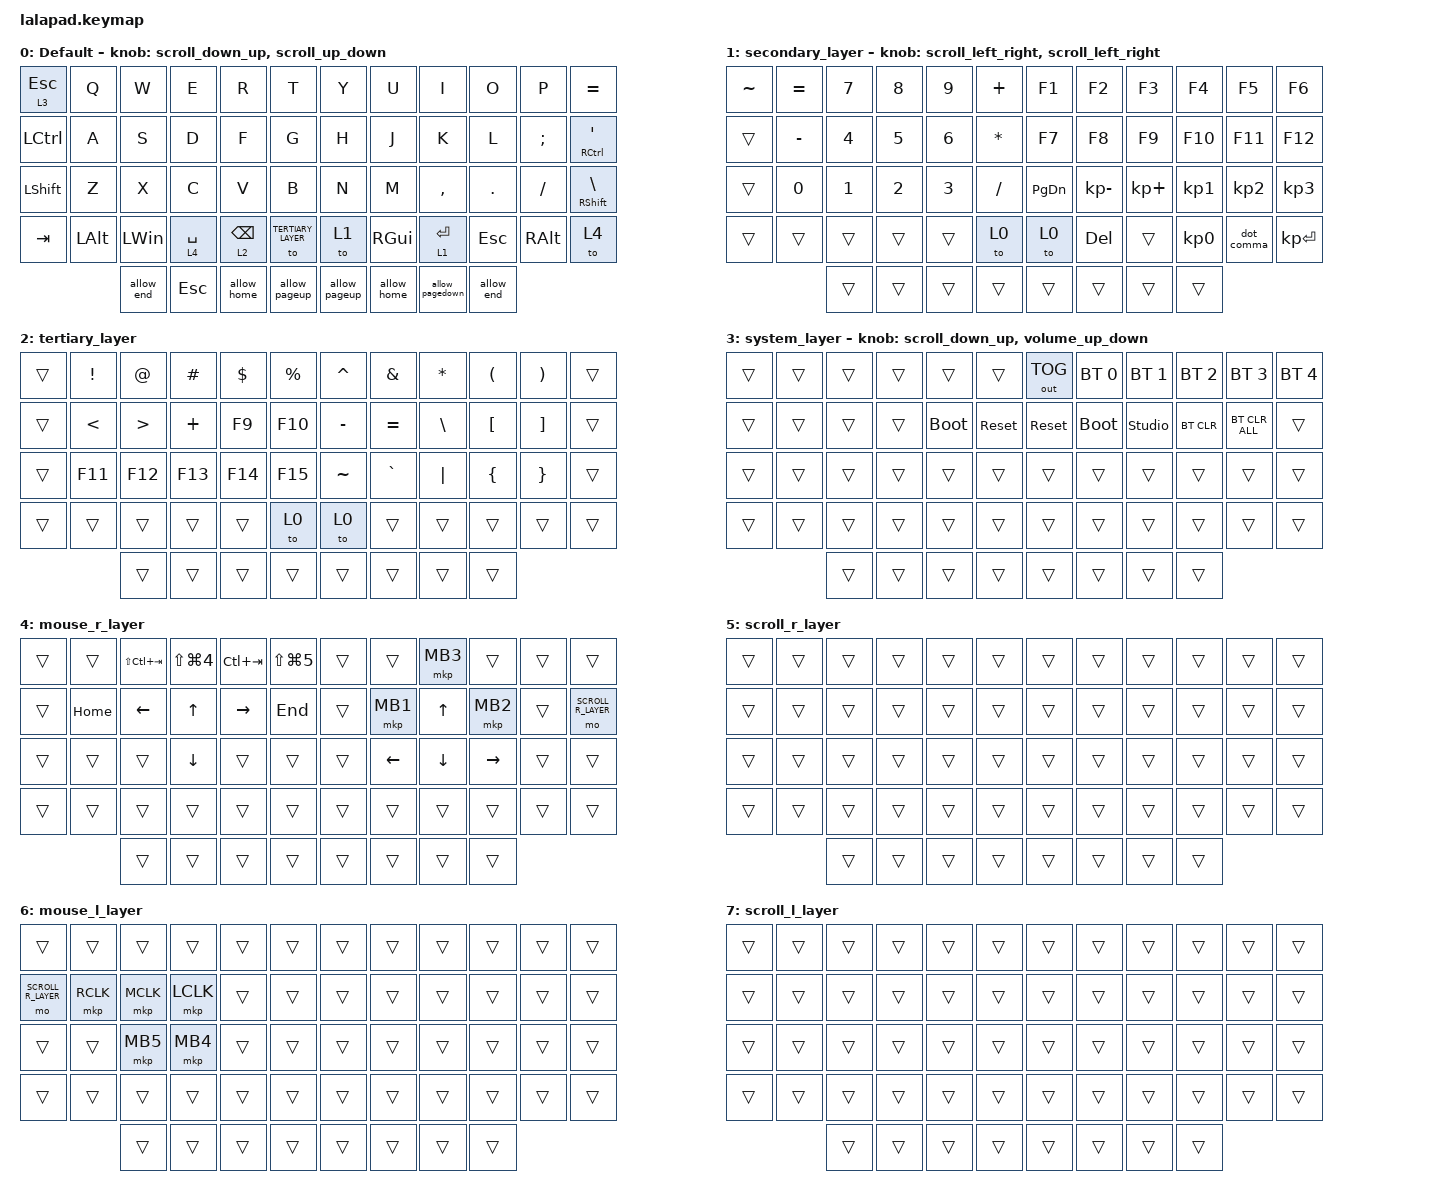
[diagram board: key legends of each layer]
#include <input/processors.dtsi>
#include <behaviors.dtsi>
#include <dt-bindings/zmk/bt.h>
#include <dt-bindings/zmk/keys.h>
#include <dt-bindings/zmk/outputs.h>
#include <dt-bindings/zmk/pointing.h>

#define DEFAULT_LAYER   0
#define SECONDARY_LAYER 1
#define TERTIARY_LAYER  2
#define SYSTEM_LAYER    3
#define MOUSE_R_LAYER   4
#define SCROLL_R_LAYER  5
#define MOUSE_L_LAYER   6
#define SCROLL_L_LAYER  7

// Mouse Scroll Value

#define ZMK_POINTING_DEFAULT_SCRL_VAL 100

// cirque trackpad input&layer control

&glidepoint_listener_R {
    input-processors =
        <&zip_xy_transform (INPUT_TRANSFORM_XY_SWAP | INPUT_TRANSFORM_X_INVERT | INPUT_TRANSFORM_Y_INVERT)>,
        <&zip_xy_scaler 6 2>;

    lowspeedmode {
        layers = <SECONDARY_LAYER>;
        input-processors =
            <&zip_xy_transform (INPUT_TRANSFORM_XY_SWAP | INPUT_TRANSFORM_X_INVERT | INPUT_TRANSFORM_Y_INVERT)>,
            <&zip_xy_scaler 3 5>;
    };

    scroller {
        layers = <SCROLL_R_LAYER>;
        input-processors =
            <&zip_xy_to_scroll_mapper>,
            <&zip_scroll_transform (INPUT_TRANSFORM_XY_SWAP | INPUT_TRANSFORM_Y_INVERT)>,
            <&zip_scroll_scaler 1 8>;
    };
};

&glidepoint_listener_L {
    input-processors =
        <&zip_xy_transform (INPUT_TRANSFORM_XY_SWAP | INPUT_TRANSFORM_X_INVERT | INPUT_TRANSFORM_Y_INVERT)>,
        <&zip_xy_scaler 3 2>,
        <&zip_temp_layer MOUSE_L_LAYER 500>;

    lowspeedmode {
        layers = <SECONDARY_LAYER>;
        input-processors =
            <&zip_xy_transform (INPUT_TRANSFORM_XY_SWAP | INPUT_TRANSFORM_X_INVERT | INPUT_TRANSFORM_Y_INVERT)>,
            <&zip_xy_scaler 3 4>,
            <&zip_temp_layer MOUSE_L_LAYER 500>;
    };

    scroller {
        layers = <SCROLL_L_LAYER>;
        input-processors =
            <&zip_xy_to_scroll_mapper>,
            <&zip_scroll_transform (INPUT_TRANSFORM_XY_SWAP | INPUT_TRANSFORM_Y_INVERT)>,
            <&zip_scroll_scaler 1 6>;
    };
};

/ {
    behaviors {
        // Encoder to Mouse Scroll

        scroll_up_down: behavior_sensor_rotate_mouse_wheel_up_down {
            compatible = "zmk,behavior-sensor-rotate";
            #sensor-binding-cells = <0>;
            bindings = <&msc SCRL_UP>, <&msc SCRL_DOWN>;

            tap-ms = <20>;
        };

        scroll_down_up: behavior_sensor_rotate_mouse_wheel_down_up {
            compatible = "zmk,behavior-sensor-rotate";
            #sensor-binding-cells = <0>;
            bindings = <&msc SCRL_DOWN>, <&msc SCRL_UP>;

            tap-ms = <20>;
        };

        scroll_left_right: behavior_sensor_rotate_mouse_wheel_left_right {
            compatible = "zmk,behavior-sensor-rotate";
            #sensor-binding-cells = <0>;
            bindings = <&msc SCRL_LEFT>, <&msc SCRL_RIGHT>;

            tap-ms = <20>;
        };

        scroll_right_left: behavior_sensor_rotate_mouse_wheel_right_left {
            compatible = "zmk,behavior-sensor-rotate";
            #sensor-binding-cells = <0>;
            bindings = <&msc SCRL_RIGHT>, <&msc SCRL_LEFT>;

            tap-ms = <20>;
        };

        volume_up_down: behavior_sensor_rotate_volume_up_down {
            compatible = "zmk,behavior-sensor-rotate";
            #sensor-binding-cells = <0>;
            bindings = <&kp C_VOLUME_UP>, <&kp C_VOLUME_DOWN>;

            tap-ms = <20>;
        };

        dot_comma: dot_comma {
            compatible = "zmk,behavior-mod-morph";
            #binding-cells = <0>;
            bindings = <&kp KP_DOT>, <&kp COMMA>;

            mods = <(MOD_LSFT|MOD_RSFT)>;
            label = "DOT_COMMA";
        };

        pls_minus: pls_minus {
            compatible = "zmk,behavior-mod-morph";
            #binding-cells = <0>;
            bindings = <&kp PLUS>, <&kp MINUS>;

            mods = <(MOD_LSFT|MOD_RSFT)>;
            label = "PLS_MINUS";
        };

        allow_pageup: allow_pageup {
            compatible = "zmk,behavior-mod-morph";
            #binding-cells = <0>;
            bindings = <&kp UP>, <&kp PAGE_UP>;

            mods = <(MOD_LCTL|MOD_RCTL)>;
            label = "ALLOW_PAGEUP";
        };

        allow_pagedown: allow_pagedown {
            compatible = "zmk,behavior-mod-morph";
            #binding-cells = <0>;
            bindings = <&kp DOWN>, <&kp PAGE_DOWN>;

            mods = <(MOD_LCTL|MOD_RCTL)>;
            label = "ALLOW_PAGEDOWN";
        };

        allow_home: allow_home {
            compatible = "zmk,behavior-mod-morph";
            #binding-cells = <0>;
            bindings = <&kp LEFT>, <&kp HOME>;

            mods = <(MOD_LCTL|MOD_RCTL)>;
            label = "ALLOW_HOME";
        };

        allow_end: allow_end {
            compatible = "zmk,behavior-mod-morph";
            #binding-cells = <0>;
            bindings = <&kp RIGHT>, <&kp END>;

            mods = <(MOD_LCTL|MOD_RCTL)>;
            label = "ALLOW_END";
        };

        mt2: mod_tap2 {
            compatible = "zmk,behavior-hold-tap";
            #binding-cells = <2>;
            flavor = "tap-preferred";
            tapping-term-ms = <200>;
            quick-tap-ms = <200>;
            require-prior-idle-ms = <125>;
            bindings = <&kp>, <&kp>;
        };
    };

    combos {
        compatible = "zmk,combos";

        tab {
            bindings = <&kp TAB>;
            key-positions = <14 15>;
        };

        shift_tab {
            bindings = <&kp LS(TAB)>;
            key-positions = <15 16>;
        };
    };

    keymap {
        compatible = "zmk,keymap";

        DEFAULT_LAYER {
            display-name = "Default";
            sensor-bindings = <&scroll_down_up>, <&scroll_up_down>;

            bindings = <
&lt 3 ESCAPE  &kp Q         &kp W         &kp E        &kp R            &kp T               &kp Y          &kp U          &kp I            &kp O       &kp P          &kp EQUAL
&kp LCTRL     &kp A         &kp S         &kp D        &kp F            &kp G               &kp H          &kp J          &kp K            &kp L       &kp SEMI       &mt RCTRL SQT
&kp LSHFT     &kp Z         &kp X         &kp C        &kp V            &kp B               &kp N          &kp M          &kp COMMA        &kp PERIOD  &kp SLASH      &mt RIGHT_SHIFT BSLH
&kp TAB       &kp LEFT_ALT  &kp LEFT_WIN  &lt 4 SPACE  &lt 2 BACKSPACE  &to TERTIARY_LAYER  &to 1          &kp RIGHT_GUI  &lt 1 ENTER      &kp ESC     &kp RIGHT_ALT  &to 4
                            &allow_end    &kp ESC      &allow_home      &allow_pageup       &allow_pageup  &allow_home    &allow_pagedown  &allow_end
            >;
        };

        SECONDARY_LAYER {
            display-name = "secondary_layer";
            sensor-bindings = <&scroll_left_right>, <&scroll_left_right>;

            bindings = <
&kp TILDE  &kp EQUAL     &kp NUMBER_7  &kp NUMBER_8  &kp NUMBER_9  &kp PLUS      &kp F1         &kp F2        &kp F3       &kp F4           &kp F5           &kp F6
&trans     &kp MINUS     &kp NUMBER_4  &kp NUMBER_5  &kp NUMBER_6  &kp ASTERISK  &kp F7         &kp F8        &kp F9       &kp F10          &kp F11          &kp F12
&trans     &kp NUMBER_0  &kp NUMBER_1  &kp NUMBER_2  &kp NUMBER_3  &kp SLASH     &kp PAGE_DOWN  &kp KP_MINUS  &kp KP_PLUS  &kp KP_NUMBER_1  &kp KP_NUMBER_2  &kp KP_NUMBER_3
&trans     &trans        &trans        &trans        &trans        &to 0         &to 0          &kp DELETE    &trans       &kp KP_NUMBER_0  &dot_comma       &kp KP_ENTER
                         &trans        &trans        &trans        &trans        &trans         &trans        &trans       &trans
            >;
        };

        TERTIARY_LAYER {
            display-name = "tertiary_layer";
            bindings = <
&trans  &kp EXCLAMATION  &kp AT_SIGN       &kp HASH  &kp DOLLAR  &kp PERCENT  &kp CARET  &kp AMPERSAND  &kp ASTERISK   &kp LEFT_PARENTHESIS  &kp RIGHT_PARENTHESIS  &trans
&trans  &kp LESS_THAN    &kp GREATER_THAN  &kp PLUS  &kp F9      &kp F10      &kp MINUS  &kp EQUAL      &kp BACKSLASH  &kp LEFT_BRACKET      &kp RIGHT_BRACKET      &trans
&trans  &kp F11          &kp F12           &kp F13   &kp F14     &kp F15      &kp TILDE  &kp GRAVE      &kp PIPE       &kp LEFT_BRACE        &kp RIGHT_BRACE        &trans
&trans  &trans           &trans            &trans    &trans      &to 0        &to 0      &trans         &trans         &trans                &trans                 &trans
                         &trans            &trans    &trans      &trans       &trans     &trans         &trans         &trans
            >;
        };

        SYSTEM_LAYER {
            display-name = "system_layer";
            sensor-bindings = <&scroll_down_up>, <&volume_up_down>;

            bindings = <
&trans  &trans  &trans  &trans  &trans       &trans      &out OUT_TOG  &bt BT_SEL 0  &bt BT_SEL 1    &bt BT_SEL 2  &bt BT_SEL 3    &bt BT_SEL 4
&trans  &trans  &trans  &trans  &bootloader  &sys_reset  &sys_reset    &bootloader   &studio_unlock  &bt BT_CLR    &bt BT_CLR_ALL  &trans
&trans  &trans  &trans  &trans  &trans       &trans      &trans        &trans        &trans          &trans        &trans          &trans
&trans  &trans  &trans  &trans  &trans       &trans      &trans        &trans        &trans          &trans        &trans          &trans
                &trans  &trans  &trans       &trans      &trans        &trans        &trans          &trans
            >;
        };

        MOUSE_R_LAYER {
            display-name = "mouse_r_layer";
            bindings = <
&trans  &trans    &kp LS(LC(TAB))  &kp LS(LG(NUMBER_4))  &kp LC(TAB)      &kp LS(LG(NUMBER_5))  &trans  &trans          &mkp MB3        &trans           &trans  &trans
&trans  &kp HOME  &kp LEFT_ARROW   &kp UP_ARROW          &kp RIGHT_ARROW  &kp END               &trans  &mkp MB1        &kp UP_ARROW    &mkp MB2         &trans  &mo SCROLL_R_LAYER
&trans  &trans    &trans           &kp DOWN_ARROW        &trans           &trans                &trans  &kp LEFT_ARROW  &kp DOWN_ARROW  &kp RIGHT_ARROW  &trans  &trans
&trans  &trans    &trans           &trans                &trans           &trans                &trans  &trans          &trans          &trans           &trans  &trans
                  &trans           &trans                &trans           &trans                &trans  &trans          &trans          &trans
            >;
        };

        SCROLL_R_LAYER {
            display-name = "scroll_r_layer";
            bindings = <
&trans  &trans  &trans  &trans  &trans  &trans  &trans  &trans  &trans  &trans  &trans  &trans
&trans  &trans  &trans  &trans  &trans  &trans  &trans  &trans  &trans  &trans  &trans  &trans
&trans  &trans  &trans  &trans  &trans  &trans  &trans  &trans  &trans  &trans  &trans  &trans
&trans  &trans  &trans  &trans  &trans  &trans  &trans  &trans  &trans  &trans  &trans  &trans
                &trans  &trans  &trans  &trans  &trans  &trans  &trans  &trans
            >;
        };

        MOUSE_L_LAYER {
            display-name = "mouse_l_layer";
            bindings = <
&trans              &trans     &trans     &trans     &trans  &trans  &trans  &trans  &trans  &trans  &trans  &trans
&mo SCROLL_R_LAYER  &mkp RCLK  &mkp MCLK  &mkp LCLK  &trans  &trans  &trans  &trans  &trans  &trans  &trans  &trans
&trans              &trans     &mkp MB5   &mkp MB4   &trans  &trans  &trans  &trans  &trans  &trans  &trans  &trans
&trans              &trans     &trans     &trans     &trans  &trans  &trans  &trans  &trans  &trans  &trans  &trans
                               &trans     &trans     &trans  &trans  &trans  &trans  &trans  &trans
            >;
        };

        SCROLL_L_LAYER {
            display-name = "scroll_l_layer";
            bindings = <
&trans  &trans  &trans  &trans  &trans  &trans  &trans  &trans  &trans  &trans  &trans  &trans
&trans  &trans  &trans  &trans  &trans  &trans  &trans  &trans  &trans  &trans  &trans  &trans
&trans  &trans  &trans  &trans  &trans  &trans  &trans  &trans  &trans  &trans  &trans  &trans
&trans  &trans  &trans  &trans  &trans  &trans  &trans  &trans  &trans  &trans  &trans  &trans
                &trans  &trans  &trans  &trans  &trans  &trans  &trans  &trans
            >;
        };
    };
};
